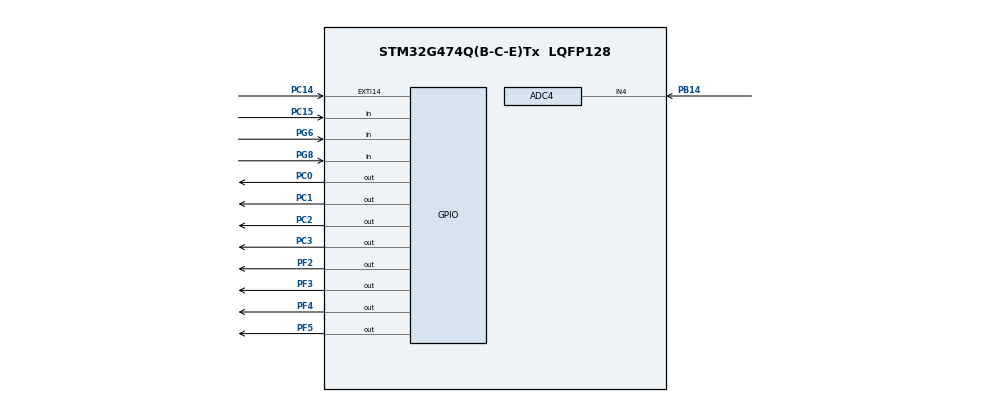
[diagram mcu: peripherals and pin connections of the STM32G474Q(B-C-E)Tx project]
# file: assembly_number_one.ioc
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ADC4.Channel-1\#ChannelRegularConversion=ADC_CHANNEL_4
ADC4.ClockPrescaler=ADC_CLOCK_SYNC_PCLK_DIV1
ADC4.ContinuousConvMode=DISABLE
ADC4.DMAContinuousRequests=DISABLE
ADC4.ExternalTrigConv=ADC_SOFTWARE_START
ADC4.NbrOfConversion=1
ADC4.NbrOfConversionFlag=1
ADC4.OffsetNumber-1\#ChannelRegularConversion=ADC_OFFSET_NONE
ADC4.Rank-1\#ChannelRegularConversion=1
ADC4.SamplingTime-1\#ChannelRegularConversion=ADC_SAMPLETIME_2CYCLES_5
Mcu.Family=STM32G4
Mcu.Name=STM32G474Q(B-C-E)Tx
Mcu.Package=LQFP128
NVIC.EXTI15_10_IRQn=true\:0\:0\:false\:false\:true\:true\:true\:true
NVIC.PriorityGroup=NVIC_PRIORITYGROUP_4
NVIC.TIM2_IRQn=true\:0\:0\:false\:false\:true\:true\:true\:true
PB14.Mode=IN4-Single-Ended
PB14.Signal=ADC4_IN4
PC0.Signal=GPIO_Output
PC1.Signal=GPIO_Output
PC14-OSC32_IN.GPIO_PuPd=GPIO_PULLUP
PC14-OSC32_IN.Signal=GPXTI14
PC15-OSC32_OUT.GPIO_Mode=GPIO_MODE_INPUT
PC15-OSC32_OUT.GPIO_PuPd=GPIO_PULLUP
PC15-OSC32_OUT.Signal=GPIO_Input
PC2.Signal=GPIO_Output
PC3.Signal=GPIO_Output
PF2.GPIO_PuPd=GPIO_NOPULL
PF2.PinState=GPIO_PIN_RESET
PF2.Signal=GPIO_Output
PF3.Signal=GPIO_Output
PF4.Signal=GPIO_Output
PF5.Signal=GPIO_Output
PG6.GPIO_Mode=GPIO_MODE_INPUT
PG6.GPIO_PuPd=GPIO_PULLUP
PG6.Signal=GPIO_Input
PG8.GPIO_Mode=GPIO_MODE_INPUT
PG8.GPIO_PuPd=GPIO_PULLUP
PG8.Signal=GPIO_Input
ProjectManager.HeapSize=0x200
ProjectManager.StackSize=0x400
ProjectManager.TargetToolchain=STM32CubeIDE
RCC.AHBFreq_Value=16000000
RCC.APB1Freq_Value=16000000
RCC.APB1TimFreq_Value=16000000
RCC.APB2Freq_Value=16000000
RCC.APB2TimFreq_Value=16000000
RCC.CortexFreq_Value=16000000
RCC.EXTERNAL_CLOCK_VALUE=12288000
RCC.HCLKFreq_Value=16000000
RCC.HSE_VALUE=8000000
RCC.HSI48_VALUE=48000000
RCC.HSI_VALUE=16000000
RCC.LSE_VALUE=32768
RCC.SYSCLKFreq_VALUE=16000000
RCC.USBFreq_Value=64000000
RCC.VCOOutputFreq_Value=128000000
TIM2.AutoReloadPreload=TIM_AUTORELOAD_PRELOAD_ENABLE
TIM2.PeriodNoDither=500000
TIM2.Prescaler=32
TIM2.TIM_MasterOutputTrigger=TIM_TRGO_UPDATE
VP_SYS_VS_DBSignals.Mode=DisableDeadBatterySignals
VP_TIM2_VS_ClockSourceINT.Mode=Internal
board=custom

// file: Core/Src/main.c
/* USER CODE BEGIN Header */
/**
  ******************************************************************************
  * @file           : main.c
  * @brief          : Main program body
  ******************************************************************************
  * @attention
  *
  * Copyright (c) 2022 STMicroelectronics.
  * All rights reserved.
  *
  * This software is licensed under terms that can be found in the LICENSE file
  * in the root directory of this software component.
  * If no LICENSE file comes with this software, it is provided AS-IS.
  *
  ******************************************************************************
  */
/* USER CODE END Header */
#include "main.h"

/* USER CODE BEGIN PV */
uint8_t g_interval_time = 0;  //NA KOLIKO ČASA BOMO ZALIVALI
volatile uint8_t g_current_time = 0; //KOLIKO ČASA JE MINILO
volatile uint8_t g_init_time = 1; //ALI MORAMO NA NOVO INICIALIZIRATI CAS
#define d_max_water 2 //ZA KOLIKO ZALIVANJ IMAMO VODO
uint8_t g_current_water = 0; //KOLIKO KRAT SMO ZE ZALILI
uint16_t g_adc = 0; //SPREMENLJIVKA ZA TESTIRANJE
/* USER CODE END PV */

void SystemClock_Config(void);
static void MX_GPIO_Init(void);
static void MX_TIM2_Init(void);
static void MX_ADC4_Init(void);
/* USER CODE BEGIN PFP */

//DA LAŽJE PRIŽIGEM LEDICE
void led_indicator(int n)
{
	switch(n)
	{
	case 0:
		LL_GPIO_ResetOutputPin(GPIOF, LL_GPIO_PIN_2 | LL_GPIO_PIN_3 | LL_GPIO_PIN_4 | LL_GPIO_PIN_5);
		LL_GPIO_ResetOutputPin(GPIOC, LL_GPIO_PIN_0 | LL_GPIO_PIN_1 | LL_GPIO_PIN_2 | LL_GPIO_PIN_3);
		break;
	case 1:
		LL_GPIO_ResetOutputPin(GPIOF, LL_GPIO_PIN_3 | LL_GPIO_PIN_4 | LL_GPIO_PIN_5);
		LL_GPIO_SetOutputPin(GPIOF, LL_GPIO_PIN_2);
		LL_GPIO_ResetOutputPin(GPIOC, LL_GPIO_PIN_0 | LL_GPIO_PIN_1 | LL_GPIO_PIN_2 | LL_GPIO_PIN_3);
		break;
	case 2:
		LL_GPIO_ResetOutputPin(GPIOF,LL_GPIO_PIN_4 | LL_GPIO_PIN_5);
		LL_GPIO_SetOutputPin(GPIOF, LL_GPIO_PIN_2 | LL_GPIO_PIN_3);
		LL_GPIO_ResetOutputPin(GPIOC, LL_GPIO_PIN_0 | LL_GPIO_PIN_1 | LL_GPIO_PIN_2 | LL_GPIO_PIN_3);
		break;
	case 3:
		LL_GPIO_ResetOutputPin(GPIOF, LL_GPIO_PIN_5);
		LL_GPIO_SetOutputPin(GPIOF, LL_GPIO_PIN_2 | LL_GPIO_PIN_3 | LL_GPIO_PIN_4);
		LL_GPIO_ResetOutputPin(GPIOC, LL_GPIO_PIN_0 | LL_GPIO_PIN_1 | LL_GPIO_PIN_2 | LL_GPIO_PIN_3);
		break;
	case 4:
		LL_GPIO_SetOutputPin(GPIOF, LL_GPIO_PIN_2 | LL_GPIO_PIN_3 | LL_GPIO_PIN_4 | LL_GPIO_PIN_5);
		LL_GPIO_ResetOutputPin(GPIOC, LL_GPIO_PIN_0 | LL_GPIO_PIN_1 | LL_GPIO_PIN_2 | LL_GPIO_PIN_3);
		break;
	case 5:
		LL_GPIO_SetOutputPin(GPIOF, LL_GPIO_PIN_2 | LL_GPIO_PIN_3 | LL_GPIO_PIN_4 | LL_GPIO_PIN_5);
		LL_GPIO_ResetOutputPin(GPIOC, LL_GPIO_PIN_1 | LL_GPIO_PIN_2 | LL_GPIO_PIN_3);
		LL_GPIO_SetOutputPin(GPIOC, LL_GPIO_PIN_0);
		break;
	case 6:
		LL_GPIO_SetOutputPin(GPIOF, LL_GPIO_PIN_2 | LL_GPIO_PIN_3 | LL_GPIO_PIN_4 | LL_GPIO_PIN_5);
		LL_GPIO_ResetOutputPin(GPIOC, LL_GPIO_PIN_2 | LL_GPIO_PIN_3);
		LL_GPIO_SetOutputPin(GPIOC, LL_GPIO_PIN_0 | LL_GPIO_PIN_1);
		break;
	case 7:
		LL_GPIO_SetOutputPin(GPIOF, LL_GPIO_PIN_2 | LL_GPIO_PIN_3 | LL_GPIO_PIN_4 | LL_GPIO_PIN_5);
		LL_GPIO_ResetOutputPin(GPIOC, LL_GPIO_PIN_3);
		LL_GPIO_SetOutputPin(GPIOC, LL_GPIO_PIN_0 | LL_GPIO_PIN_1 | LL_GPIO_PIN_2);
		break;
	case 8:
		LL_GPIO_SetOutputPin(GPIOF, LL_GPIO_PIN_2 | LL_GPIO_PIN_3 | LL_GPIO_PIN_4 | LL_GPIO_PIN_5);
		LL_GPIO_SetOutputPin(GPIOC, LL_GPIO_PIN_0 | LL_GPIO_PIN_1 | LL_GPIO_PIN_2 | LL_GPIO_PIN_3);
		break;
	default:
		LL_GPIO_ResetOutputPin(GPIOF, LL_GPIO_PIN_2 | LL_GPIO_PIN_3 | LL_GPIO_PIN_4 | LL_GPIO_PIN_5);
		LL_GPIO_ResetOutputPin(GPIOC, LL_GPIO_PIN_0 | LL_GPIO_PIN_1 | LL_GPIO_PIN_2 | LL_GPIO_PIN_3);
		break;
	}
}

//"ANIMACIJA" ZA ZALIVANJE -> CURRENT TIME SE VSAKO SEKUNDO SKOZI TIM2 INTERRUPT ZVISA ZA 1
void water()
{
	LL_TIM_SetCounter(TIM2, 0);
	g_current_time = 0;
	while(1)
	{
		if(g_current_time > 8) break;
		led_indicator(g_current_time);
	}
	led_indicator(0);
}

//FUNKCIJA ZA INICIALIZIRATI G_INTERVAL_TIME
void init_time()
{
		g_interval_time = 1;
		led_indicator(g_interval_time);
	  while(1)
	  {
		  if(LL_GPIO_IsInputPinSet(GPIOG, LL_GPIO_PIN_6) == 0)
		  {
			  g_interval_time++;
			  if(g_interval_time < 1) g_interval_time = 1;
			  else if(g_interval_time	 > 8) g_interval_time = 8;
			  led_indicator(g_interval_time);
			  LL_TIM_SetCounter(TIM2, 0);
			  g_current_time = 0;
			  while(g_current_time == 0);
		  }
		  if(LL_GPIO_IsInputPinSet(GPIOG, LL_GPIO_PIN_8) == 0)
		  {
			  g_interval_time--;
			  if(g_interval_time < 1) g_interval_time = 1;
			  else if(g_interval_time > 8) g_interval_time = 8;
			  led_indicator(g_interval_time);
			  g_current_time = 0;
			  LL_TIM_SetCounter(TIM2, 0);
			  while(g_current_time == 0);
		  }
		  if(LL_GPIO_IsInputPinSet(GPIOC, LL_GPIO_PIN_15) == 0)
		  {
			  led_indicator(0);
			  return;
		  }
	  }
}

/* USER CODE END PFP */

int main(void)
{

  /* MCU Configuration--------------------------------------------------------*/

  /* Reset of all peripherals, Initializes the Flash interface and the Systick. */
  LL_APB2_GRP1_EnableClock(LL_APB2_GRP1_PERIPH_SYSCFG);
  LL_APB1_GRP1_EnableClock(LL_APB1_GRP1_PERIPH_PWR);

  /* System interrupt init*/
  NVIC_SetPriorityGrouping(NVIC_PRIORITYGROUP_4);

  /* SysTick_IRQn interrupt configuration */
  NVIC_SetPriority(SysTick_IRQn, NVIC_EncodePriority(NVIC_GetPriorityGrouping(),15, 0));

  /** Disable the internal Pull-Up in Dead Battery pins of UCPD peripheral
  */
  LL_PWR_DisableUCPDDeadBattery();

  /* Configure the system clock */
  SystemClock_Config();

  /* Initialize all configured peripherals */
  MX_GPIO_Init();
  MX_TIM2_Init();
  MX_ADC4_Init();

  /* Infinite loop */
  /* USER CODE BEGIN WHILE */

  //INICIALIZIRAMO CAS MED ZALIVANJI
  LL_TIM_EnableIT_UPDATE(TIM2);
  LL_TIM_EnableCounter(TIM2);
  LL_ADC_Enable(ADC4);

  while (1)
  {
	  //CE MORAMO NA NOVO INICIALIZIRATI CAS MED ZALIVANJI
	  if(g_init_time == 1)
	  {
		  g_interval_time = 0;
		  init_time();
		  g_init_time = 0;
		  g_current_time = 0;
	  }
	  //PREVERIMO STANJE ADC-JA
	  LL_ADC_REG_StartConversion(ADC4);
	  while(!LL_ADC_IsActiveFlag_EOC(ADC4));
	  g_adc = LL_ADC_REG_ReadConversionData12(ADC4);

	 //PREVERIMO CE MORAMO SPET ZALITI
	  if(g_current_time >= g_interval_time)
	  {
		 //PREVERI STANJE ADC IN ZLAIJE ČE "ZEMLJA NI PREVEČ MOKRA"
		if(g_adc < 3000)
		{
			water();
			g_current_water++;
		}

		//TA KODA SE IZVEDE CE MORAMO NAPOLNITI VODO
		if(g_current_water >= d_max_water)
		{
			LL_TIM_SetCounter(TIM2, 0);
			g_current_time = 0;
			while(1)
			{
				//KO PRITISNEMO GUMB OK SE LEDICE UGASNEJO, STEVEC ZA VODO SE RESETIRA IN GREMO VN IZ WHILE ZANKE
				if(LL_GPIO_IsInputPinSet(GPIOC, LL_GPIO_PIN_15) == 0)
				{
					led_indicator(0);
					g_current_water = 0;
					break;
				}
				if(g_current_time != 0)
				{
					g_current_time = 0;
					LL_GPIO_TogglePin(GPIOF, LL_GPIO_PIN_2 | LL_GPIO_PIN_3 | LL_GPIO_PIN_4 | LL_GPIO_PIN_5);
					LL_GPIO_TogglePin(GPIOC, LL_GPIO_PIN_0 | LL_GPIO_PIN_1 | LL_GPIO_PIN_2 | LL_GPIO_PIN_3);
				}

			}
		}
		g_current_time = 0;
		}

    /* USER CODE END WHILE */

  }
}

void SystemClock_Config(void)
{
  LL_FLASH_SetLatency(LL_FLASH_LATENCY_0);
  while(LL_FLASH_GetLatency() != LL_FLASH_LATENCY_0)
  {
  }
  LL_PWR_SetRegulVoltageScaling(LL_PWR_REGU_VOLTAGE_SCALE1);
  LL_RCC_HSI_Enable();
   /* Wait till HSI is ready */
  while(LL_RCC_HSI_IsReady() != 1)
  {
  }

  LL_RCC_HSI_SetCalibTrimming(64);
  LL_RCC_SetSysClkSource(LL_RCC_SYS_CLKSOURCE_HSI);
   /* Wait till System clock is ready */
  while(LL_RCC_GetSysClkSource() != LL_RCC_SYS_CLKSOURCE_STATUS_HSI)
  {
  }

  /* Set AHB prescaler*/
  LL_RCC_SetAHBPrescaler(LL_RCC_SYSCLK_DIV_1);
  LL_RCC_SetAPB1Prescaler(LL_RCC_APB1_DIV_1);
  LL_RCC_SetAPB2Prescaler(LL_RCC_APB2_DIV_1);

  LL_Init1msTick(16000000);

  LL_SetSystemCoreClock(16000000);
}

static void MX_ADC4_Init(void)
{

  LL_ADC_InitTypeDef ADC_InitStruct = {0};
  LL_ADC_REG_InitTypeDef ADC_REG_InitStruct = {0};
  LL_ADC_CommonInitTypeDef ADC_CommonInitStruct = {0};

  LL_GPIO_InitTypeDef GPIO_InitStruct = {0};

  LL_RCC_SetADCClockSource(LL_RCC_ADC345_CLKSOURCE_SYSCLK);

  /* Peripheral clock enable */
  LL_AHB2_GRP1_EnableClock(LL_AHB2_GRP1_PERIPH_ADC345);

  LL_AHB2_GRP1_EnableClock(LL_AHB2_GRP1_PERIPH_GPIOB);
  /**ADC4 GPIO Configuration
  PB14   ------> ADC4_IN4
  */
  GPIO_InitStruct.Pin = LL_GPIO_PIN_14;
  GPIO_InitStruct.Mode = LL_GPIO_MODE_ANALOG;
  GPIO_InitStruct.Pull = LL_GPIO_PULL_NO;
  LL_GPIO_Init(GPIOB, &GPIO_InitStruct);

  /** Common config
  */
  ADC_InitStruct.Resolution = LL_ADC_RESOLUTION_12B;
  ADC_InitStruct.DataAlignment = LL_ADC_DATA_ALIGN_RIGHT;
  ADC_InitStruct.LowPowerMode = LL_ADC_LP_MODE_NONE;
  LL_ADC_Init(ADC4, &ADC_InitStruct);
  ADC_REG_InitStruct.TriggerSource = LL_ADC_REG_TRIG_SOFTWARE;
  ADC_REG_InitStruct.SequencerLength = LL_ADC_REG_SEQ_SCAN_DISABLE;
  ADC_REG_InitStruct.SequencerDiscont = LL_ADC_REG_SEQ_DISCONT_DISABLE;
  ADC_REG_InitStruct.ContinuousMode = LL_ADC_REG_CONV_SINGLE;
  ADC_REG_InitStruct.DMATransfer = LL_ADC_REG_DMA_TRANSFER_NONE;
  ADC_REG_InitStruct.Overrun = LL_ADC_REG_OVR_DATA_PRESERVED;
  LL_ADC_REG_Init(ADC4, &ADC_REG_InitStruct);
  LL_ADC_SetGainCompensation(ADC4, 0);
  LL_ADC_SetOverSamplingScope(ADC4, LL_ADC_OVS_DISABLE);
  ADC_CommonInitStruct.CommonClock = LL_ADC_CLOCK_SYNC_PCLK_DIV1;
  LL_ADC_CommonInit(__LL_ADC_COMMON_INSTANCE(ADC4), &ADC_CommonInitStruct);

  /* Disable ADC deep power down (enabled by default after reset state) */
  LL_ADC_DisableDeepPowerDown(ADC4);
  /* Enable ADC internal voltage regulator */
  LL_ADC_EnableInternalRegulator(ADC4);
  /* Delay for ADC internal voltage regulator stabilization. */
  /* Compute number of CPU cycles to wait for, from delay in us. */
  /* Note: Variable divided by 2 to compensate partially */
  /* CPU processing cycles (depends on compilation optimization). */
  /* Note: If system core clock frequency is below 200kHz, wait time */
  /* is only a few CPU processing cycles. */
  uint32_t wait_loop_index;
  wait_loop_index = ((LL_ADC_DELAY_INTERNAL_REGUL_STAB_US * (SystemCoreClock / (100000 * 2))) / 10);
  while(wait_loop_index != 0)
  {
    wait_loop_index--;
  }

  /** Configure Regular Channel
  */
  LL_ADC_REG_SetSequencerRanks(ADC4, LL_ADC_REG_RANK_1, LL_ADC_CHANNEL_4);
  LL_ADC_SetChannelSamplingTime(ADC4, LL_ADC_CHANNEL_4, LL_ADC_SAMPLINGTIME_2CYCLES_5);
  LL_ADC_SetChannelSingleDiff(ADC4, LL_ADC_CHANNEL_4, LL_ADC_SINGLE_ENDED);

}

static void MX_TIM2_Init(void)
{

  LL_TIM_InitTypeDef TIM_InitStruct = {0};

  /* Peripheral clock enable */
  LL_APB1_GRP1_EnableClock(LL_APB1_GRP1_PERIPH_TIM2);

  /* TIM2 interrupt Init */
  NVIC_SetPriority(TIM2_IRQn, NVIC_EncodePriority(NVIC_GetPriorityGrouping(),0, 0));
  NVIC_EnableIRQ(TIM2_IRQn);

  TIM_InitStruct.Prescaler = 32;
  TIM_InitStruct.CounterMode = LL_TIM_COUNTERMODE_UP;
  TIM_InitStruct.Autoreload = 500000;
  TIM_InitStruct.ClockDivision = LL_TIM_CLOCKDIVISION_DIV1;
  LL_TIM_Init(TIM2, &TIM_InitStruct);
  LL_TIM_EnableARRPreload(TIM2);
  LL_TIM_SetClockSource(TIM2, LL_TIM_CLOCKSOURCE_INTERNAL);
  LL_TIM_SetTriggerOutput(TIM2, LL_TIM_TRGO_UPDATE);
  LL_TIM_DisableMasterSlaveMode(TIM2);

}

static void MX_GPIO_Init(void)
{
  LL_EXTI_InitTypeDef EXTI_InitStruct = {0};
  LL_GPIO_InitTypeDef GPIO_InitStruct = {0};

  /* GPIO Ports Clock Enable */
  LL_AHB2_GRP1_EnableClock(LL_AHB2_GRP1_PERIPH_GPIOC);
  LL_AHB2_GRP1_EnableClock(LL_AHB2_GRP1_PERIPH_GPIOF);
  LL_AHB2_GRP1_EnableClock(LL_AHB2_GRP1_PERIPH_GPIOB);
  LL_AHB2_GRP1_EnableClock(LL_AHB2_GRP1_PERIPH_GPIOG);

  /**/
  LL_GPIO_ResetOutputPin(GPIOF, LL_GPIO_PIN_3);

  /**/
  LL_GPIO_ResetOutputPin(GPIOF, LL_GPIO_PIN_4);

  /**/
  LL_GPIO_ResetOutputPin(GPIOF, LL_GPIO_PIN_5);

  /**/
  LL_GPIO_ResetOutputPin(GPIOC, LL_GPIO_PIN_0);

  /**/
  LL_GPIO_ResetOutputPin(GPIOC, LL_GPIO_PIN_1);

  /**/
  LL_GPIO_ResetOutputPin(GPIOC, LL_GPIO_PIN_2);

  /**/
  LL_GPIO_ResetOutputPin(GPIOC, LL_GPIO_PIN_3);

  /**/
  LL_GPIO_ResetOutputPin(GPIOF, LL_GPIO_PIN_2);

  /**/
  LL_SYSCFG_SetEXTISource(LL_SYSCFG_EXTI_PORTC, LL_SYSCFG_EXTI_LINE14);

  /**/
  EXTI_InitStruct.Line_0_31 = LL_EXTI_LINE_14;
  EXTI_InitStruct.LineCommand = ENABLE;
  EXTI_InitStruct.Mode = LL_EXTI_MODE_IT;
  EXTI_InitStruct.Trigger = LL_EXTI_TRIGGER_RISING;
  LL_EXTI_Init(&EXTI_InitStruct);

  /**/
  LL_GPIO_SetPinPull(GPIOC, LL_GPIO_PIN_14, LL_GPIO_PULL_UP);

  /**/
  LL_GPIO_SetPinMode(GPIOC, LL_GPIO_PIN_14, LL_GPIO_MODE_INPUT);

  /**/
  GPIO_InitStruct.Pin = LL_GPIO_PIN_15;
  GPIO_InitStruct.Mode = LL_GPIO_MODE_INPUT;
  GPIO_InitStruct.Pull = LL_GPIO_PULL_UP;
  LL_GPIO_Init(GPIOC, &GPIO_InitStruct);

  /**/
  GPIO_InitStruct.Pin = LL_GPIO_PIN_3;
  GPIO_InitStruct.Mode = LL_GPIO_MODE_OUTPUT;
  GPIO_InitStruct.Speed = LL_GPIO_SPEED_FREQ_LOW;
  GPIO_InitStruct.OutputType = LL_GPIO_OUTPUT_PUSHPULL;
  GPIO_InitStruct.Pull = LL_GPIO_PULL_NO;
  LL_GPIO_Init(GPIOF, &GPIO_InitStruct);

  /**/
  GPIO_InitStruct.Pin = LL_GPIO_PIN_4;
  GPIO_InitStruct.Mode = LL_GPIO_MODE_OUTPUT;
  GPIO_InitStruct.Speed = LL_GPIO_SPEED_FREQ_LOW;
  GPIO_InitStruct.OutputType = LL_GPIO_OUTPUT_PUSHPULL;
  GPIO_InitStruct.Pull = LL_GPIO_PULL_NO;
  LL_GPIO_Init(GPIOF, &GPIO_InitStruct);

  /**/
  GPIO_InitStruct.Pin = LL_GPIO_PIN_5;
  GPIO_InitStruct.Mode = LL_GPIO_MODE_OUTPUT;
  GPIO_InitStruct.Speed = LL_GPIO_SPEED_FREQ_LOW;
  GPIO_InitStruct.OutputType = LL_GPIO_OUTPUT_PUSHPULL;
  GPIO_InitStruct.Pull = LL_GPIO_PULL_NO;
  LL_GPIO_Init(GPIOF, &GPIO_InitStruct);

  /**/
  GPIO_InitStruct.Pin = LL_GPIO_PIN_0;
  GPIO_InitStruct.Mode = LL_GPIO_MODE_OUTPUT;
  GPIO_InitStruct.Speed = LL_GPIO_SPEED_FREQ_LOW;
  GPIO_InitStruct.OutputType = LL_GPIO_OUTPUT_PUSHPULL;
  GPIO_InitStruct.Pull = LL_GPIO_PULL_NO;
  LL_GPIO_Init(GPIOC, &GPIO_InitStruct);

  /**/
  GPIO_InitStruct.Pin = LL_GPIO_PIN_1;
  GPIO_InitStruct.Mode = LL_GPIO_MODE_OUTPUT;
  GPIO_InitStruct.Speed = LL_GPIO_SPEED_FREQ_LOW;
  GPIO_InitStruct.OutputType = LL_GPIO_OUTPUT_PUSHPULL;
  GPIO_InitStruct.Pull = LL_GPIO_PULL_NO;
  LL_GPIO_Init(GPIOC, &GPIO_InitStruct);

  /**/
  GPIO_InitStruct.Pin = LL_GPIO_PIN_2;
  GPIO_InitStruct.Mode = LL_GPIO_MODE_OUTPUT;
  GPIO_InitStruct.Speed = LL_GPIO_SPEED_FREQ_LOW;
  GPIO_InitStruct.OutputType = LL_GPIO_OUTPUT_PUSHPULL;
  GPIO_InitStruct.Pull = LL_GPIO_PULL_NO;
  LL_GPIO_Init(GPIOC, &GPIO_InitStruct);

  /**/
  GPIO_InitStruct.Pin = LL_GPIO_PIN_3;
  GPIO_InitStruct.Mode = LL_GPIO_MODE_OUTPUT;
  GPIO_InitStruct.Speed = LL_GPIO_SPEED_FREQ_LOW;
  GPIO_InitStruct.OutputType = LL_GPIO_OUTPUT_PUSHPULL;
  GPIO_InitStruct.Pull = LL_GPIO_PULL_NO;
  LL_GPIO_Init(GPIOC, &GPIO_InitStruct);

  /**/
  GPIO_InitStruct.Pin = LL_GPIO_PIN_2;
  GPIO_InitStruct.Mode = LL_GPIO_MODE_OUTPUT;
  GPIO_InitStruct.Speed = LL_GPIO_SPEED_FREQ_LOW;
  GPIO_InitStruct.OutputType = LL_GPIO_OUTPUT_PUSHPULL;
  GPIO_InitStruct.Pull = LL_GPIO_PULL_NO;
  LL_GPIO_Init(GPIOF, &GPIO_InitStruct);

  /**/
  GPIO_InitStruct.Pin = LL_GPIO_PIN_6;
  GPIO_InitStruct.Mode = LL_GPIO_MODE_INPUT;
  GPIO_InitStruct.Pull = LL_GPIO_PULL_UP;
  LL_GPIO_Init(GPIOG, &GPIO_InitStruct);

  /**/
  GPIO_InitStruct.Pin = LL_GPIO_PIN_8;
  GPIO_InitStruct.Mode = LL_GPIO_MODE_INPUT;
  GPIO_InitStruct.Pull = LL_GPIO_PULL_UP;
  LL_GPIO_Init(GPIOG, &GPIO_InitStruct);

  /* EXTI interrupt init*/
  NVIC_SetPriority(EXTI15_10_IRQn, NVIC_EncodePriority(NVIC_GetPriorityGrouping(),0, 0));
  NVIC_EnableIRQ(EXTI15_10_IRQn);

}

void Error_Handler(void)
{
  __disable_irq();
  while (1)
  {
  }
}
